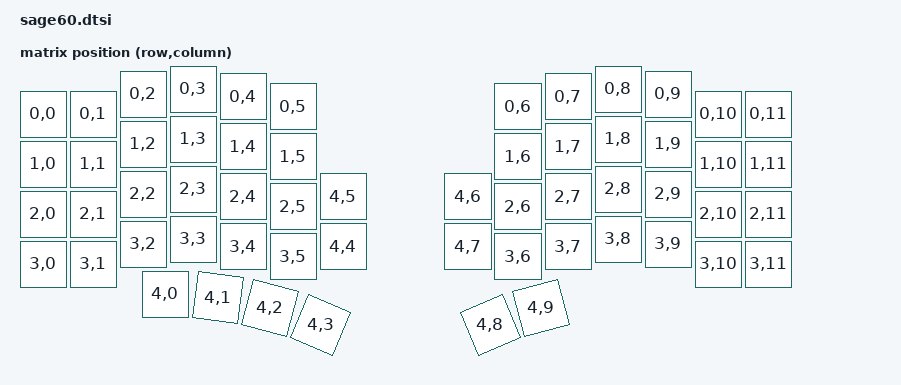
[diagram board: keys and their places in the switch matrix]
/*
 * Copyright (c) 2026 Diwamoto_
 *
 * SPDX-License-Identifier: MIT
 *
 * Sage60 (Cherry MX / mechanical switch version)
 *
 * Split keyboard, 58 keys. Per half the PCB matrix is 6 COL x 5 ROW, but ROW4
 * is not a bottom row: COL4/COL5 are the two inner-column keys beside rows 2-3
 * and COL0..COL3 are the thumb keys (left 4; right only COL2/COL3, the
 * trackball takes COL0/COL1). Positions below are from the KiCad footprints.
 * Controller: XIAO nRF52840 (left) / XIAO nRF52840 Plus (right, with trackball).
 * Diode direction: col2row (cathode on ROW, as the KiCad netlist and silk show).
 *
 * GPIO assignment is asymmetric between halves, so the actual row-gpios and
 * col-gpios are defined per-half in sage60_left.overlay / sage60_right.overlay.
 */

#include <dt-bindings/zmk/matrix_transform.h>
#include <physical_layouts.dtsi>

/ {
    chosen {
        zmk,kscan = &kscan0;
        zmk,physical-layout = &sage60_layout;
    };

    /* Trackball: the right half owns the sensor (device set in
     * sage60_right.overlay), the left half receives it over the split link. */
    split_inputs {
        #address-cells = <1>;
        #size-cells = <0>;

        trackball_split: trackball_split@0 {
            compatible = "zmk,input-split";
            reg = <0>;
        };
    };

    kscan0: kscan {
        compatible = "zmk,kscan-gpio-matrix";
        wakeup-source;

        diode-direction = "col2row";
        /* row-gpios and col-gpios are provided per-half in the overlays */
    };

    default_transform: keymap_transform_0 {
        compatible = "zmk,matrix-transform";
        columns = <12>;
        rows = <5>;
        /* col-offset is set to 6 on the right half (see sage60_right.overlay) */
        map = <
RC(0,0) RC(0,1) RC(0,2) RC(0,3) RC(0,4) RC(0,5) RC(0,6) RC(0,7) RC(0,8) RC(0,9) RC(0,10) RC(0,11)
RC(1,0) RC(1,1) RC(1,2) RC(1,3) RC(1,4) RC(1,5) RC(1,6) RC(1,7) RC(1,8) RC(1,9) RC(1,10) RC(1,11)
RC(2,0) RC(2,1) RC(2,2) RC(2,3) RC(2,4) RC(2,5) RC(4,5) RC(4,6) RC(2,6) RC(2,7) RC(2,8) RC(2,9) RC(2,10) RC(2,11)
RC(3,0) RC(3,1) RC(3,2) RC(3,3) RC(3,4) RC(3,5) RC(4,4) RC(4,7) RC(3,6) RC(3,7) RC(3,8) RC(3,9) RC(3,10) RC(3,11)
RC(4,0) RC(4,1) RC(4,2) RC(4,3) RC(4,8) RC(4,9)
        >;
    };

    sage60_layout: physical_layout {
        compatible = "zmk,physical-layout";
        display-name = "Sage60";
        transform = <&default_transform>;

        keys  //                     w   h    x    y     rot    rx    ry
            = <&key_physical_attrs 100 100    0   50      0    0    0> //  0  L SW1  RC(0,0)
            , <&key_physical_attrs 100 100  100   50      0    0    0> //  1  L SW2  RC(0,1)
            , <&key_physical_attrs 100 100  200   10      0    0    0> //  2  L SW3  RC(0,2)
            , <&key_physical_attrs 100 100  300    0      0    0    0> //  3  L SW4  RC(0,3)
            , <&key_physical_attrs 100 100  400   15      0    0    0> //  4  L SW5  RC(0,4)
            , <&key_physical_attrs 100 100  500   35      0    0    0> //  5  L SW6  RC(0,5)
            , <&key_physical_attrs 100 100  950   35      0    0    0> //  6  R SW6  RC(0,6)
            , <&key_physical_attrs 100 100 1050   15      0    0    0> //  7  R SW5  RC(0,7)
            , <&key_physical_attrs 100 100 1150    0      0    0    0> //  8  R SW4  RC(0,8)
            , <&key_physical_attrs 100 100 1250   10      0    0    0> //  9  R SW3  RC(0,9)
            , <&key_physical_attrs 100 100 1350   50      0    0    0> // 10  R SW2  RC(0,10)
            , <&key_physical_attrs 100 100 1450   50      0    0    0> // 11  R SW1  RC(0,11)
            , <&key_physical_attrs 100 100    0  150      0    0    0> // 12  L SW7  RC(1,0)
            , <&key_physical_attrs 100 100  100  150      0    0    0> // 13  L SW8  RC(1,1)
            , <&key_physical_attrs 100 100  200  110      0    0    0> // 14  L SW9  RC(1,2)
            , <&key_physical_attrs 100 100  300  100      0    0    0> // 15  L SW10 RC(1,3)
            , <&key_physical_attrs 100 100  400  115      0    0    0> // 16  L SW11 RC(1,4)
            , <&key_physical_attrs 100 100  500  135      0    0    0> // 17  L SW12 RC(1,5)
            , <&key_physical_attrs 100 100  950  135      0    0    0> // 18  R SW12 RC(1,6)
            , <&key_physical_attrs 100 100 1050  115      0    0    0> // 19  R SW11 RC(1,7)
            , <&key_physical_attrs 100 100 1150  100      0    0    0> // 20  R SW10 RC(1,8)
            , <&key_physical_attrs 100 100 1250  110      0    0    0> // 21  R SW9  RC(1,9)
            , <&key_physical_attrs 100 100 1350  150      0    0    0> // 22  R SW8  RC(1,10)
            , <&key_physical_attrs 100 100 1450  150      0    0    0> // 23  R SW7  RC(1,11)
            , <&key_physical_attrs 100 100    0  250      0    0    0> // 24  L SW13 RC(2,0)
            , <&key_physical_attrs 100 100  100  250      0    0    0> // 25  L SW14 RC(2,1)
            , <&key_physical_attrs 100 100  200  210      0    0    0> // 26  L SW15 RC(2,2)
            , <&key_physical_attrs 100 100  300  200      0    0    0> // 27  L SW16 RC(2,3)
            , <&key_physical_attrs 100 100  400  215      0    0    0> // 28  L SW17 RC(2,4)
            , <&key_physical_attrs 100 100  500  235      0    0    0> // 29  L SW18 RC(2,5)
            , <&key_physical_attrs 100 100  600  215      0    0    0> // 30  L SW30 RC(4,5)
            , <&key_physical_attrs 100 100  850  215      0    0    0> // 31  R SW30 RC(4,6)
            , <&key_physical_attrs 100 100  950  235      0    0    0> // 32  R SW18 RC(2,6)
            , <&key_physical_attrs 100 100 1050  215      0    0    0> // 33  R SW17 RC(2,7)
            , <&key_physical_attrs 100 100 1150  200      0    0    0> // 34  R SW16 RC(2,8)
            , <&key_physical_attrs 100 100 1250  210      0    0    0> // 35  R SW15 RC(2,9)
            , <&key_physical_attrs 100 100 1350  250      0    0    0> // 36  R SW14 RC(2,10)
            , <&key_physical_attrs 100 100 1450  250      0    0    0> // 37  R SW13 RC(2,11)
            , <&key_physical_attrs 100 100    0  350      0    0    0> // 38  L SW19 RC(3,0)
            , <&key_physical_attrs 100 100  100  350      0    0    0> // 39  L SW20 RC(3,1)
            , <&key_physical_attrs 100 100  200  310      0    0    0> // 40  L SW21 RC(3,2)
            , <&key_physical_attrs 100 100  300  300      0    0    0> // 41  L SW22 RC(3,3)
            , <&key_physical_attrs 100 100  400  315      0    0    0> // 42  L SW23 RC(3,4)
            , <&key_physical_attrs 100 100  500  335      0    0    0> // 43  L SW24 RC(3,5)
            , <&key_physical_attrs 100 100  600  315      0    0    0> // 44  L SW29 RC(4,4)
            , <&key_physical_attrs 100 100  850  315      0    0    0> // 45  R SW29 RC(4,7)
            , <&key_physical_attrs 100 100  950  335      0    0    0> // 46  R SW24 RC(3,6)
            , <&key_physical_attrs 100 100 1050  315      0    0    0> // 47  R SW23 RC(3,7)
            , <&key_physical_attrs 100 100 1150  300      0    0    0> // 48  R SW22 RC(3,8)
            , <&key_physical_attrs 100 100 1250  310      0    0    0> // 49  R SW21 RC(3,9)
            , <&key_physical_attrs 100 100 1350  350      0    0    0> // 50  R SW20 RC(3,10)
            , <&key_physical_attrs 100 100 1450  350      0    0    0> // 51  R SW19 RC(3,11)
            , <&key_physical_attrs 100 100  244  410      0    0    0> // 52  L SW25 RC(4,0)
            , <&key_physical_attrs 100 100  350  417    750  400  467> // 53  L SW26 RC(4,1)
            , <&key_physical_attrs 100 100  454  438   1500  504  488> // 54  L SW27 RC(4,2)
            , <&key_physical_attrs 100 100  555  472   2250  605  522> // 55  L SW28 RC(4,3)
            , <&key_physical_attrs 100 100  895  472 (-2250)  945  522> // 56  R SW28 RC(4,8)
            , <&key_physical_attrs 100 100  996  438 (-1500) 1046  488> // 57  R SW27 RC(4,9)
            ;
    };
};

/* uart0 (D6/D7) and i2c1 (D4/D5) default to the matrix pins on xiao_ble. */
&uart0 { status = "disabled"; };
&i2c1 { status = "disabled"; };
